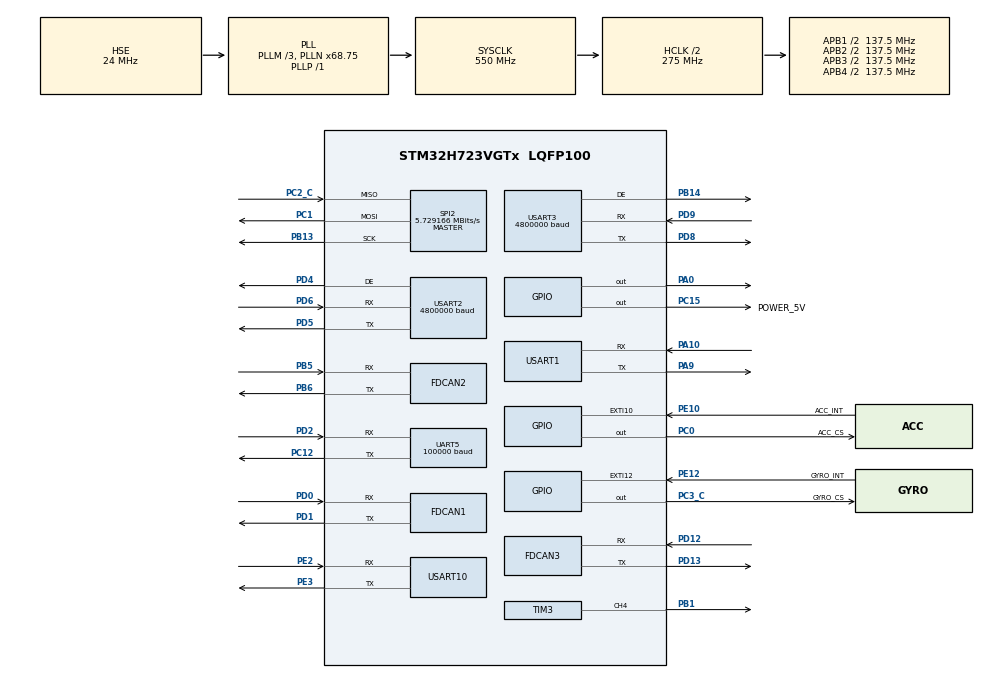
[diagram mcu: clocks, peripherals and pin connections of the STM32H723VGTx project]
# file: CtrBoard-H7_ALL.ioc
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CORTEX_M7.AccessPermission-Cortex_Memory_Protection_Unit_Region0_Settings=MPU_REGION_FULL_ACCESS
CORTEX_M7.BaseAddress-Cortex_Memory_Protection_Unit_Region0_Settings=0x24000000
CORTEX_M7.CPU_DCache=Disabled
CORTEX_M7.CPU_ICache=Disabled
CORTEX_M7.Enable-Cortex_Memory_Protection_Unit_Region0_Settings=MPU_REGION_ENABLE
CORTEX_M7.IsBufferable-Cortex_Memory_Protection_Unit_Region0_Settings=MPU_ACCESS_BUFFERABLE
CORTEX_M7.IsCacheable-Cortex_Memory_Protection_Unit_Region0_Settings=MPU_ACCESS_CACHEABLE
CORTEX_M7.MPU_Control=__NULL
CORTEX_M7.Size-Cortex_Memory_Protection_Unit_Region0_Settings=MPU_REGION_SIZE_512KB
CORTEX_M7.TypeExtField-Cortex_Memory_Protection_Unit_Region0_Settings=MPU_TEX_LEVEL0
Dma.Request0=SPI2_RX
Dma.Request1=SPI2_TX
Dma.Request10=USART10_TX
Dma.Request2=USART2_RX
Dma.Request3=USART2_TX
Dma.Request4=USART3_RX
Dma.Request5=USART3_TX
Dma.Request6=UART5_RX
Dma.Request7=USART1_TX
Dma.Request8=USART1_RX
Dma.Request9=USART10_RX
Dma.SPI2_RX.0.Direction=DMA_PERIPH_TO_MEMORY
Dma.SPI2_RX.0.EventEnable=DISABLE
Dma.SPI2_RX.0.FIFOMode=DMA_FIFOMODE_DISABLE
Dma.SPI2_RX.0.Instance=DMA1_Stream0
Dma.SPI2_RX.0.MemDataAlignment=DMA_MDATAALIGN_BYTE
Dma.SPI2_RX.0.MemInc=DMA_MINC_ENABLE
Dma.SPI2_RX.0.Mode=DMA_NORMAL
Dma.SPI2_RX.0.PeriphDataAlignment=DMA_PDATAALIGN_BYTE
Dma.SPI2_RX.0.PeriphInc=DMA_PINC_DISABLE
Dma.SPI2_RX.0.Polarity=HAL_DMAMUX_REQ_GEN_RISING
Dma.SPI2_RX.0.Priority=DMA_PRIORITY_VERY_HIGH
Dma.SPI2_RX.0.RequestNumber=1
Dma.SPI2_RX.0.SignalID=NONE
Dma.SPI2_RX.0.SyncEnable=DISABLE
Dma.SPI2_RX.0.SyncPolarity=HAL_DMAMUX_SYNC_NO_EVENT
Dma.SPI2_RX.0.SyncRequestNumber=1
Dma.SPI2_RX.0.SyncSignalID=NONE
Dma.SPI2_TX.1.Direction=DMA_MEMORY_TO_PERIPH
Dma.SPI2_TX.1.EventEnable=DISABLE
Dma.SPI2_TX.1.FIFOMode=DMA_FIFOMODE_DISABLE
Dma.SPI2_TX.1.Instance=DMA1_Stream1
Dma.SPI2_TX.1.MemDataAlignment=DMA_MDATAALIGN_BYTE
Dma.SPI2_TX.1.MemInc=DMA_MINC_ENABLE
Dma.SPI2_TX.1.Mode=DMA_NORMAL
Dma.SPI2_TX.1.PeriphDataAlignment=DMA_PDATAALIGN_BYTE
Dma.SPI2_TX.1.PeriphInc=DMA_PINC_DISABLE
Dma.SPI2_TX.1.Polarity=HAL_DMAMUX_REQ_GEN_RISING
Dma.SPI2_TX.1.Priority=DMA_PRIORITY_HIGH
Dma.SPI2_TX.1.RequestNumber=1
Dma.SPI2_TX.1.SignalID=NONE
Dma.SPI2_TX.1.SyncEnable=DISABLE
Dma.SPI2_TX.1.SyncPolarity=HAL_DMAMUX_SYNC_NO_EVENT
Dma.SPI2_TX.1.SyncRequestNumber=1
Dma.SPI2_TX.1.SyncSignalID=NONE
Dma.UART5_RX.6.Direction=DMA_PERIPH_TO_MEMORY
Dma.UART5_RX.6.EventEnable=DISABLE
Dma.UART5_RX.6.FIFOMode=DMA_FIFOMODE_DISABLE
Dma.UART5_RX.6.Instance=DMA1_Stream6
Dma.UART5_RX.6.MemDataAlignment=DMA_MDATAALIGN_BYTE
Dma.UART5_RX.6.MemInc=DMA_MINC_ENABLE
Dma.UART5_RX.6.Mode=DMA_NORMAL
Dma.UART5_RX.6.PeriphDataAlignment=DMA_PDATAALIGN_BYTE
Dma.UART5_RX.6.PeriphInc=DMA_PINC_DISABLE
Dma.UART5_RX.6.Polarity=HAL_DMAMUX_REQ_GEN_RISING
Dma.UART5_RX.6.Priority=DMA_PRIORITY_HIGH
Dma.UART5_RX.6.RequestNumber=1
Dma.UART5_RX.6.SignalID=NONE
Dma.UART5_RX.6.SyncEnable=DISABLE
Dma.UART5_RX.6.SyncPolarity=HAL_DMAMUX_SYNC_NO_EVENT
Dma.UART5_RX.6.SyncRequestNumber=1
Dma.UART5_RX.6.SyncSignalID=NONE
Dma.USART10_RX.9.Direction=DMA_PERIPH_TO_MEMORY
Dma.USART10_RX.9.EventEnable=DISABLE
Dma.USART10_RX.9.FIFOMode=DMA_FIFOMODE_DISABLE
Dma.USART10_RX.9.Instance=DMA2_Stream1
Dma.USART10_RX.9.MemDataAlignment=DMA_MDATAALIGN_BYTE
Dma.USART10_RX.9.MemInc=DMA_MINC_ENABLE
Dma.USART10_RX.9.Mode=DMA_NORMAL
Dma.USART10_RX.9.PeriphDataAlignment=DMA_PDATAALIGN_BYTE
Dma.USART10_RX.9.PeriphInc=DMA_PINC_DISABLE
Dma.USART10_RX.9.Polarity=HAL_DMAMUX_REQ_GEN_RISING
Dma.USART10_RX.9.Priority=DMA_PRIORITY_LOW
Dma.USART10_RX.9.RequestNumber=1
Dma.USART10_RX.9.SignalID=NONE
Dma.USART10_RX.9.SyncEnable=DISABLE
Dma.USART10_RX.9.SyncPolarity=HAL_DMAMUX_SYNC_NO_EVENT
Dma.USART10_RX.9.SyncRequestNumber=1
Dma.USART10_RX.9.SyncSignalID=NONE
Dma.USART10_TX.10.Direction=DMA_MEMORY_TO_PERIPH
Dma.USART10_TX.10.EventEnable=DISABLE
Dma.USART10_TX.10.FIFOMode=DMA_FIFOMODE_DISABLE
Dma.USART10_TX.10.Instance=DMA2_Stream2
Dma.USART10_TX.10.MemDataAlignment=DMA_MDATAALIGN_BYTE
Dma.USART10_TX.10.MemInc=DMA_MINC_ENABLE
Dma.USART10_TX.10.Mode=DMA_NORMAL
Dma.USART10_TX.10.PeriphDataAlignment=DMA_PDATAALIGN_BYTE
Dma.USART10_TX.10.PeriphInc=DMA_PINC_DISABLE
Dma.USART10_TX.10.Polarity=HAL_DMAMUX_REQ_GEN_RISING
Dma.USART10_TX.10.Priority=DMA_PRIORITY_LOW
Dma.USART10_TX.10.RequestNumber=1
Dma.USART10_TX.10.SignalID=NONE
Dma.USART10_TX.10.SyncEnable=DISABLE
Dma.USART10_TX.10.SyncPolarity=HAL_DMAMUX_SYNC_NO_EVENT
Dma.USART10_TX.10.SyncRequestNumber=1
Dma.USART10_TX.10.SyncSignalID=NONE
Dma.USART1_RX.8.Direction=DMA_PERIPH_TO_MEMORY
Dma.USART1_RX.8.EventEnable=DISABLE
Dma.USART1_RX.8.FIFOMode=DMA_FIFOMODE_DISABLE
Dma.USART1_RX.8.Instance=DMA2_Stream0
Dma.USART1_RX.8.MemDataAlignment=DMA_MDATAALIGN_BYTE
Dma.USART1_RX.8.MemInc=DMA_MINC_ENABLE
Dma.USART1_RX.8.Mode=DMA_NORMAL
Dma.USART1_RX.8.PeriphDataAlignment=DMA_PDATAALIGN_BYTE
Dma.USART1_RX.8.PeriphInc=DMA_PINC_DISABLE
Dma.USART1_RX.8.Polarity=HAL_DMAMUX_REQ_GEN_RISING
Dma.USART1_RX.8.Priority=DMA_PRIORITY_LOW
Dma.USART1_RX.8.RequestNumber=1
Dma.USART1_RX.8.SignalID=NONE
Dma.USART1_RX.8.SyncEnable=DISABLE
Dma.USART1_RX.8.SyncPolarity=HAL_DMAMUX_SYNC_NO_EVENT
Dma.USART1_RX.8.SyncRequestNumber=1
Dma.USART1_RX.8.SyncSignalID=NONE
Dma.USART1_TX.7.Direction=DMA_MEMORY_TO_PERIPH
Dma.USART1_TX.7.EventEnable=DISABLE
Dma.USART1_TX.7.FIFOMode=DMA_FIFOMODE_DISABLE
Dma.USART1_TX.7.Instance=DMA1_Stream7
Dma.USART1_TX.7.MemDataAlignment=DMA_MDATAALIGN_BYTE
Dma.USART1_TX.7.MemInc=DMA_MINC_ENABLE
Dma.USART1_TX.7.Mode=DMA_NORMAL
Dma.USART1_TX.7.PeriphDataAlignment=DMA_PDATAALIGN_BYTE
Dma.USART1_TX.7.PeriphInc=DMA_PINC_DISABLE
Dma.USART1_TX.7.Polarity=HAL_DMAMUX_REQ_GEN_RISING
Dma.USART1_TX.7.Priority=DMA_PRIORITY_LOW
Dma.USART1_TX.7.RequestNumber=1
Dma.USART1_TX.7.SignalID=NONE
Dma.USART1_TX.7.SyncEnable=DISABLE
Dma.USART1_TX.7.SyncPolarity=HAL_DMAMUX_SYNC_NO_EVENT
Dma.USART1_TX.7.SyncRequestNumber=1
Dma.USART1_TX.7.SyncSignalID=NONE
Dma.USART2_RX.2.Direction=DMA_PERIPH_TO_MEMORY
Dma.USART2_RX.2.EventEnable=DISABLE
Dma.USART2_RX.2.FIFOMode=DMA_FIFOMODE_DISABLE
Dma.USART2_RX.2.Instance=DMA1_Stream2
Dma.USART2_RX.2.MemDataAlignment=DMA_MDATAALIGN_BYTE
Dma.USART2_RX.2.MemInc=DMA_MINC_ENABLE
Dma.USART2_RX.2.Mode=DMA_NORMAL
Dma.USART2_RX.2.PeriphDataAlignment=DMA_PDATAALIGN_BYTE
Dma.USART2_RX.2.PeriphInc=DMA_PINC_DISABLE
Dma.USART2_RX.2.Polarity=HAL_DMAMUX_REQ_GEN_RISING
Dma.USART2_RX.2.Priority=DMA_PRIORITY_LOW
Dma.USART2_RX.2.RequestNumber=1
Dma.USART2_RX.2.SignalID=NONE
Dma.USART2_RX.2.SyncEnable=DISABLE
Dma.USART2_RX.2.SyncPolarity=HAL_DMAMUX_SYNC_NO_EVENT
Dma.USART2_RX.2.SyncRequestNumber=1
Dma.USART2_RX.2.SyncSignalID=NONE
Dma.USART2_TX.3.Direction=DMA_MEMORY_TO_PERIPH
Dma.USART2_TX.3.EventEnable=DISABLE
Dma.USART2_TX.3.FIFOMode=DMA_FIFOMODE_DISABLE
Dma.USART2_TX.3.Instance=DMA1_Stream3
Dma.USART2_TX.3.MemDataAlignment=DMA_MDATAALIGN_BYTE
Dma.USART2_TX.3.MemInc=DMA_MINC_ENABLE
Dma.USART2_TX.3.Mode=DMA_NORMAL
Dma.USART2_TX.3.PeriphDataAlignment=DMA_PDATAALIGN_BYTE
Dma.USART2_TX.3.PeriphInc=DMA_PINC_DISABLE
Dma.USART2_TX.3.Polarity=HAL_DMAMUX_REQ_GEN_RISING
Dma.USART2_TX.3.Priority=DMA_PRIORITY_LOW
Dma.USART2_TX.3.RequestNumber=1
Dma.USART2_TX.3.SignalID=NONE
Dma.USART2_TX.3.SyncEnable=DISABLE
Dma.USART2_TX.3.SyncPolarity=HAL_DMAMUX_SYNC_NO_EVENT
Dma.USART2_TX.3.SyncRequestNumber=1
Dma.USART2_TX.3.SyncSignalID=NONE
Dma.USART3_RX.4.Direction=DMA_PERIPH_TO_MEMORY
Dma.USART3_RX.4.EventEnable=DISABLE
Dma.USART3_RX.4.FIFOMode=DMA_FIFOMODE_DISABLE
Dma.USART3_RX.4.Instance=DMA1_Stream4
Dma.USART3_RX.4.MemDataAlignment=DMA_MDATAALIGN_BYTE
Dma.USART3_RX.4.MemInc=DMA_MINC_ENABLE
Dma.USART3_RX.4.Mode=DMA_NORMAL
Dma.USART3_RX.4.PeriphDataAlignment=DMA_PDATAALIGN_BYTE
Dma.USART3_RX.4.PeriphInc=DMA_PINC_DISABLE
Dma.USART3_RX.4.Polarity=HAL_DMAMUX_REQ_GEN_RISING
Dma.USART3_RX.4.Priority=DMA_PRIORITY_LOW
Dma.USART3_RX.4.RequestNumber=1
Dma.USART3_RX.4.SignalID=NONE
Dma.USART3_RX.4.SyncEnable=DISABLE
Dma.USART3_RX.4.SyncPolarity=HAL_DMAMUX_SYNC_NO_EVENT
Dma.USART3_RX.4.SyncRequestNumber=1
Dma.USART3_RX.4.SyncSignalID=NONE
Dma.USART3_TX.5.Direction=DMA_MEMORY_TO_PERIPH
Dma.USART3_TX.5.EventEnable=DISABLE
Dma.USART3_TX.5.FIFOMode=DMA_FIFOMODE_DISABLE
Dma.USART3_TX.5.Instance=DMA1_Stream5
Dma.USART3_TX.5.MemDataAlignment=DMA_MDATAALIGN_BYTE
Dma.USART3_TX.5.MemInc=DMA_MINC_ENABLE
Dma.USART3_TX.5.Mode=DMA_NORMAL
Dma.USART3_TX.5.PeriphDataAlignment=DMA_PDATAALIGN_BYTE
Dma.USART3_TX.5.PeriphInc=DMA_PINC_DISABLE
Dma.USART3_TX.5.Polarity=HAL_DMAMUX_REQ_GEN_RISING
Dma.USART3_TX.5.Priority=DMA_PRIORITY_LOW
Dma.USART3_TX.5.RequestNumber=1
Dma.USART3_TX.5.SignalID=NONE
Dma.USART3_TX.5.SyncEnable=DISABLE
Dma.USART3_TX.5.SyncPolarity=HAL_DMAMUX_SYNC_NO_EVENT
Dma.USART3_TX.5.SyncRequestNumber=1
Dma.USART3_TX.5.SyncSignalID=NONE
FDCAN1.CalculateBaudRateNominal=1000000
FDCAN1.CalculateTimeBitNominal=1000
FDCAN1.CalculateTimeQuantumNominal=83.33333333333333
FDCAN1.NominalPrescaler=8
FDCAN1.NominalTimeSeg1=4
FDCAN1.NominalTimeSeg2=7
FDCAN1.RxFifo0ElmtsNbr=32
FDCAN1.TxFifoQueueElmtsNbr=16
FDCAN2.CalculateBaudRateNominal=1000000
FDCAN2.CalculateTimeBitNominal=1000
FDCAN2.CalculateTimeQuantumNominal=83.33333333333333
FDCAN2.NominalPrescaler=8
FDCAN2.NominalTimeSeg1=4
FDCAN2.NominalTimeSeg2=7
FDCAN2.RxFifo0ElmtsNbr=32
FDCAN2.TxFifoQueueElmtsNbr=16
FDCAN3.CalculateBaudRateNominal=1000000
FDCAN3.CalculateTimeBitNominal=1000
FDCAN3.CalculateTimeQuantumNominal=83.33333333333333
FDCAN3.NominalPrescaler=8
FDCAN3.NominalTimeSeg1=4
FDCAN3.NominalTimeSeg2=7
FDCAN3.RxFifo0ElmtsNbr=32
FDCAN3.TxFifoQueueElmtsNbr=16
FREERTOS.INCLUDE_vTaskDelayUntil=1
FREERTOS.MEMORY_ALLOCATION=2
FREERTOS.Tasks01=defaultTask,24,128,StartDefaultTask,Default,NULL,Static,defaultTaskBuffer,defaultTaskControlBlock;ImuTask,40,1024,ImuTask_Entry,As weak,NULL,Static,ImuTaskBuffer,ImuTaskControlBlock;EstimatorTask,40,1024,EstimatorTask_Entry,As weak,NULL,Static,EstimatorTaskBuffer,EstimatorTaskControlBlock;ChassisTask,40,2048,ChassisTask_Entry,As weak,NULL,Static,ChassisTaskBuffer,ChassisTaskControlBlock;RefereeTask,40,1024,RefereeTask_Entry,As weak,NULL,Static,RefereeTaskBuffer,RefereeTaskControlBlock;CansendTask,48,1024,CansendTask_Entry,As weak,NULL,Static,CansendTaskBuffer,CansendTaskControlBlock
FREERTOS.configTOTAL_HEAP_SIZE=30720
Mcu.Family=STM32H7
Mcu.Name=STM32H723VGTx
Mcu.Package=LQFP100
NVIC.DMA1_Stream0_IRQn=true\:6\:0\:true\:false\:true\:true\:false\:true\:true
NVIC.DMA1_Stream1_IRQn=true\:6\:0\:true\:false\:true\:true\:false\:true\:true
NVIC.DMA1_Stream2_IRQn=true\:5\:0\:false\:false\:true\:true\:false\:true\:true
NVIC.DMA1_Stream3_IRQn=true\:5\:0\:false\:false\:true\:true\:false\:true\:true
NVIC.DMA1_Stream4_IRQn=true\:5\:0\:false\:false\:true\:true\:false\:true\:true
NVIC.DMA1_Stream5_IRQn=true\:5\:0\:false\:false\:true\:true\:false\:true\:true
NVIC.DMA1_Stream6_IRQn=true\:5\:0\:false\:false\:true\:true\:false\:true\:true
NVIC.DMA1_Stream7_IRQn=true\:5\:0\:false\:false\:true\:true\:false\:true\:true
NVIC.DMA2_Stream0_IRQn=true\:5\:0\:false\:false\:true\:true\:false\:true\:true
NVIC.DMA2_Stream1_IRQn=true\:5\:0\:false\:false\:true\:true\:false\:true\:true
NVIC.DMA2_Stream2_IRQn=true\:5\:0\:false\:false\:true\:true\:false\:true\:true
NVIC.EXTI15_10_IRQn=true\:6\:0\:true\:false\:true\:true\:true\:true\:true
NVIC.FDCAN1_IT0_IRQn=true\:5\:0\:false\:false\:true\:true\:true\:true\:true
NVIC.FDCAN1_IT1_IRQn=true\:5\:0\:false\:false\:true\:true\:true\:true\:true
NVIC.FDCAN2_IT0_IRQn=true\:5\:0\:false\:false\:true\:true\:true\:true\:true
NVIC.FDCAN2_IT1_IRQn=true\:5\:0\:false\:false\:true\:true\:true\:true\:true
NVIC.PriorityGroup=NVIC_PRIORITYGROUP_4
NVIC.SPI2_IRQn=true\:6\:0\:true\:false\:true\:true\:false\:true\:true
NVIC.TIM1_UP_IRQn=true\:15\:0\:false\:false\:true\:false\:false\:true\:true
NVIC.TIM6_DAC_IRQn=true\:5\:0\:false\:false\:true\:true\:true\:true\:true
NVIC.TimeBase=TIM1_UP_IRQn
NVIC.TimeBaseIP=TIM1
NVIC.UART5_IRQn=true\:5\:0\:false\:false\:true\:true\:true\:true\:true
NVIC.USART10_IRQn=true\:5\:0\:false\:false\:true\:true\:true\:true\:true
NVIC.USART1_IRQn=true\:5\:0\:false\:false\:true\:true\:true\:true\:true
NVIC.USART2_IRQn=true\:5\:0\:false\:false\:true\:true\:true\:true\:true
NVIC.USART3_IRQn=true\:5\:0\:false\:false\:true\:true\:true\:true\:true
PA0.GPIO_Speed=GPIO_SPEED_FREQ_VERY_HIGH
PA0.Signal=GPIO_Output
PA10.Mode=Asynchronous
PA10.Signal=USART1_RX
PA13(JTMS/SWDIO).Mode=Serial_Wire
PA13(JTMS/SWDIO).Signal=DEBUG_JTMS-SWDIO
PA14(JTCK/SWCLK).Mode=Serial_Wire
PA14(JTCK/SWCLK).Signal=DEBUG_JTCK-SWCLK
PA9.Mode=Asynchronous
PA9.Signal=USART1_TX
PB1.Signal=S_TIM3_CH4
PB13.GPIO_Speed=GPIO_SPEED_FREQ_VERY_HIGH
PB13.Mode=Full_Duplex_Master
PB13.Signal=SPI2_SCK
PB14.GPIO_Speed=GPIO_SPEED_FREQ_VERY_HIGH
PB14.Mode=Hardware Flow Control (RS485)
PB14.Signal=USART3_DE
PB5.Mode=FDCAN_Activate
PB5.Signal=FDCAN2_RX
PB6.Mode=FDCAN_Activate
PB6.Signal=FDCAN2_TX
PC0.GPIO_Label=ACC_CS
PC0.GPIO_Speed=GPIO_SPEED_FREQ_VERY_HIGH
PC0.PinState=GPIO_PIN_SET
PC0.Signal=GPIO_Output
PC1.GPIO_Speed=GPIO_SPEED_FREQ_VERY_HIGH
PC1.Mode=Full_Duplex_Master
PC1.Signal=SPI2_MOSI
PC12.GPIO_Speed=GPIO_SPEED_FREQ_VERY_HIGH
PC12.Mode=Asynchronous
PC12.Signal=UART5_TX
PC15-OSC32_OUT.GPIO_Label=POWER_5V
PC15-OSC32_OUT.PinState=GPIO_PIN_SET
PC15-OSC32_OUT.Signal=GPIO_Output
PC2_C.GPIO_Speed=GPIO_SPEED_FREQ_VERY_HIGH
PC2_C.Mode=Full_Duplex_Master
PC2_C.Signal=SPI2_MISO
PC3_C.GPIO_Label=GYRO_CS
PC3_C.GPIO_Speed=GPIO_SPEED_FREQ_VERY_HIGH
PC3_C.PinState=GPIO_PIN_SET
PC3_C.Signal=GPIO_Output
PD0.Mode=FDCAN_Activate
PD0.Signal=FDCAN1_RX
PD1.Mode=FDCAN_Activate
PD1.Signal=FDCAN1_TX
PD12.Mode=FDCAN_Activate
PD12.Signal=FDCAN3_RX
PD13.Mode=FDCAN_Activate
PD13.Signal=FDCAN3_TX
PD2.GPIO_Speed=GPIO_SPEED_FREQ_VERY_HIGH
PD2.Mode=Asynchronous
PD2.Signal=UART5_RX
PD4.GPIO_Speed=GPIO_SPEED_FREQ_VERY_HIGH
PD4.Mode=Hardware Flow Control (RS485)
PD4.Signal=USART2_DE
PD5.GPIO_Speed=GPIO_SPEED_FREQ_VERY_HIGH
PD5.Mode=Asynchronous
PD5.Signal=USART2_TX
PD6.GPIO_Speed=GPIO_SPEED_FREQ_VERY_HIGH
PD6.Mode=Asynchronous
PD6.Signal=USART2_RX
PD8.GPIO_Speed=GPIO_SPEED_FREQ_VERY_HIGH
PD8.Mode=Asynchronous
PD8.Signal=USART3_TX
PD9.GPIO_Speed=GPIO_SPEED_FREQ_VERY_HIGH
PD9.Mode=Asynchronous
PD9.Signal=USART3_RX
PE10.GPIO_Label=ACC_INT
PE10.Signal=GPXTI10
PE12.GPIO_Label=GYRO_INT
PE12.Signal=GPXTI12
PE2.Mode=Asynchronous
PE2.Signal=USART10_RX
PE3.Mode=Asynchronous
PE3.Signal=USART10_TX
PH0-OSC_IN.Mode=HSE-External-Oscillator
PH0-OSC_IN.Signal=RCC_OSC_IN
PH1-OSC_OUT.Mode=HSE-External-Oscillator
PH1-OSC_OUT.Signal=RCC_OSC_OUT
ProjectManager.HeapSize=0x2000
ProjectManager.StackSize=0x8000
ProjectManager.TargetToolchain=MDK-ARM V5.27
RCC.ADCFreq_Value=96000000
RCC.APB1Freq_Value=137500000
RCC.APB2Freq_Value=137500000
RCC.APB3Freq_Value=137500000
RCC.APB4Freq_Value=137500000
RCC.CortexFreq_Value=550000000
RCC.D1PPRE=RCC_APB3_DIV2
RCC.D2PPRE1=RCC_APB1_DIV2
RCC.D2PPRE2=RCC_APB2_DIV2
RCC.D3PPRE=RCC_APB4_DIV2
RCC.DIVM1=3
RCC.DIVM2=2
RCC.DIVN1=68
RCC.DIVN2=16
RCC.DIVP1=1
RCC.DIVQ1=3
RCC.FDCANCLockSelection=RCC_FDCANCLKSOURCE_PLL2
RCC.HCLKFreq_Value=275000000
RCC.HPRE=RCC_HCLK_DIV2
RCC.HSE_VALUE=24000000
RCC.PLL2FRACN=0
RCC.PLL3FRACN=0
RCC.PLLFRACN=6144
RCC.PLLSourceVirtual=RCC_PLLSOURCE_HSE
RCC.SYSCLKFreq_VALUE=550000000
RCC.SYSCLKSource=RCC_SYSCLKSOURCE_PLLCLK
RCC.USBFreq_Value=183333333.33333334
SH.S_TIM3_CH4.0=TIM3_CH4,PWM Generation4 CH4
SPI2.BaudRatePrescaler=SPI_BAUDRATEPRESCALER_32
SPI2.CLKPhase=SPI_PHASE_2EDGE
SPI2.CLKPolarity=SPI_POLARITY_HIGH
SPI2.CalculateBaudRate=5.729166 MBits/s
SPI2.DataSize=SPI_DATASIZE_8BIT
SPI2.Direction=SPI_DIRECTION_2LINES
SPI2.Mode=SPI_MODE_MASTER
SPI2.VirtualType=VM_MASTER
TIM3.AutoReloadPreload=TIM_AUTORELOAD_PRELOAD_ENABLE
TIM3.Channel-PWM\ Generation4\ CH4=TIM_CHANNEL_4
TIM3.Period=10000-1
TIM3.Prescaler=24-1
TIM6.Period=999
TIM6.Prescaler=119
UART5.BaudRate=100000
UART5.DMADisableonRxErrorParam=UART_ADVFEATURE_DMA_DISABLEONRXERROR
UART5.OverrunDisableParam=UART_ADVFEATURE_OVERRUN_DISABLE
UART5.Parity=PARITY_EVEN
UART5.WordLength=WORDLENGTH_9B
USART1.DMADisableonRxErrorParam=ADVFEATURE_DMA_DISABLEONRXERROR
USART1.OverrunDisableParam=ADVFEATURE_OVERRUN_DISABLE
USART1.VirtualMode-Asynchronous=VM_ASYNC
USART10.DMADisableonRxErrorParam=ADVFEATURE_DMA_DISABLEONRXERROR
USART10.OverSampling=UART_OVERSAMPLING_8
USART10.OverrunDisableParam=ADVFEATURE_OVERRUN_DISABLE
USART10.VirtualMode=VM_ASYNC
USART2.BaudRate=4800000
USART2.DMADisableonRxErrorParam=ADVFEATURE_DMA_DISABLEONRXERROR
USART2.OverSampling=UART_OVERSAMPLING_8
USART2.OverrunDisableParam=ADVFEATURE_OVERRUN_DISABLE
USART2.VirtualMode-Asynchronous=VM_ASYNC
USART2.VirtualMode-Hardware\ Flow\ Control\ (RS485)=VM_ASYNC
USART3.BaudRate=4800000
USART3.DMADisableonRxErrorParam=ADVFEATURE_DMA_DISABLEONRXERROR
USART3.OverSampling=UART_OVERSAMPLING_8
USART3.OverrunDisableParam=ADVFEATURE_OVERRUN_DISABLE
USART3.VirtualMode-Asynchronous=VM_ASYNC
USART3.VirtualMode-Hardware\ Flow\ Control\ (RS485)=VM_ASYNC
VP_FREERTOS_VS_CMSIS_V2.Mode=CMSIS_V2
VP_MEMORYMAP_VS_MEMORYMAP.Mode=CurAppReg
VP_SYS_VS_tim1.Mode=TIM1
VP_TIM6_VS_ClockSourceINT.Mode=Enable_Timer
board=custom

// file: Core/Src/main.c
/* USER CODE BEGIN Header */
/**
 ******************************************************************************
 * @file           : main.c
 * @brief          : Main program body
 ******************************************************************************
 * @attention
 *
 * Copyright (c) 2024 STMicroelectronics.
 * All rights reserved.
 *
 * This software is licensed under terms that can be found in the LICENSE file
 * in the root directory of this software component.
 * If no LICENSE file comes with this software, it is provided AS-IS.
 *
 ******************************************************************************
 */
/* USER CODE END Header */
#include "main.h"
#include "cmsis_os.h"
#include "dma.h"
#include "fdcan.h"
#include "memorymap.h"
#include "spi.h"
#include "tim.h"
#include "usart.h"
#include "gpio.h"

/* USER CODE BEGIN Includes */
#include "can_bsp.h"
#include "vofa.h"
#include "w25q64.h"
#include <stdio.h>
#include "feet_motor.h"
#include "joint_motor.h"
#include "MotionAnalysis.h"
#include "referee_task.h"
/* USER CODE END Includes */

/* USER CODE BEGIN PV */

int joint_flag = 1;

/* USER CODE END PV */

void SystemClock_Config(void);
void PeriphCommonClock_Config(void);
void MX_FREERTOS_Init(void);

int main(void)
{

  /* MCU Configuration--------------------------------------------------------*/

  /* Reset of all peripherals, Initializes the Flash interface and the Systick. */
  HAL_Init();

  /* Configure the system clock */
  SystemClock_Config();

  /* Configure the peripherals common clocks */
  PeriphCommonClock_Config();

  /* Initialize all configured peripherals */
  MX_GPIO_Init();
  MX_DMA_Init();
  MX_SPI2_Init();
  MX_TIM3_Init();
  MX_USART2_UART_Init();
  MX_USART3_UART_Init();
  MX_FDCAN1_Init();
  MX_UART5_Init();
  MX_USART1_UART_Init();
  MX_FDCAN2_Init();
  MX_FDCAN3_Init();
  MX_TIM6_Init();
  MX_USART10_UART_Init();
  /* USER CODE BEGIN 2 */
  __HAL_UART_ENABLE_IT(&huart10, UART_IT_IDLE);                            // 开启空闲中断
  HAL_UART_Receive_DMA(&huart10, usart10_buf1, USART_RX_BUF_LENGHT);       // 开启串口DMA接收
  __HAL_UART_ENABLE_IT(&huart2, UART_IT_IDLE);                             // 开启空闲中断
  HAL_UART_Receive_DMA(&huart2, Usart2Type.RX_pData, A1_RECEIVE_SIZE + 2); // 开启串口DMA接收
  __HAL_UART_ENABLE_IT(&huart3, UART_IT_IDLE);                             // 开启空闲中断
  HAL_UART_Receive_DMA(&huart3, Usart3Type.RX_pData, A1_RECEIVE_SIZE + 2); // 开启串口DMA接收
  HAL_Delay(100);
  can_bsp_init();
  HAL_TIM_Base_Start_IT(&htim6);

  Joint_init(&(Chassis.joint_left));
  Joint_init(&(Chassis.joint_right));
  /* USER CODE END 2 */

  /* Init scheduler */
  osKernelInitialize();

  /* Call init function for freertos objects (in cmsis_os2.c) */
  MX_FREERTOS_Init();

  /* Start scheduler */
  osKernelStart();

  /* We should never get here as control is now taken by the scheduler */

  /* Infinite loop */
  /* USER CODE BEGIN WHILE */
  while (1)
  {
    //	  vofa_start();

    /* USER CODE END WHILE */

  }
}

void SystemClock_Config(void)
{
  RCC_OscInitTypeDef RCC_OscInitStruct = {0};
  RCC_ClkInitTypeDef RCC_ClkInitStruct = {0};

  /** Supply configuration update enable
  */
  HAL_PWREx_ConfigSupply(PWR_LDO_SUPPLY);

  /** Configure the main internal regulator output voltage
  */
  __HAL_PWR_VOLTAGESCALING_CONFIG(PWR_REGULATOR_VOLTAGE_SCALE0);

  while(!__HAL_PWR_GET_FLAG(PWR_FLAG_VOSRDY)) {}

  /** Initializes the RCC Oscillators according to the specified parameters
  * in the RCC_OscInitTypeDef structure.
  */
  RCC_OscInitStruct.OscillatorType = RCC_OSCILLATORTYPE_HSE;
  RCC_OscInitStruct.HSEState = RCC_HSE_ON;
  RCC_OscInitStruct.PLL.PLLState = RCC_PLL_ON;
  RCC_OscInitStruct.PLL.PLLSource = RCC_PLLSOURCE_HSE;
  RCC_OscInitStruct.PLL.PLLM = 3;
  RCC_OscInitStruct.PLL.PLLN = 68;
  RCC_OscInitStruct.PLL.PLLP = 1;
  RCC_OscInitStruct.PLL.PLLQ = 3;
  RCC_OscInitStruct.PLL.PLLR = 2;
  RCC_OscInitStruct.PLL.PLLRGE = RCC_PLL1VCIRANGE_3;
  RCC_OscInitStruct.PLL.PLLVCOSEL = RCC_PLL1VCOWIDE;
  RCC_OscInitStruct.PLL.PLLFRACN = 6144;
  if (HAL_RCC_OscConfig(&RCC_OscInitStruct) != HAL_OK)
  {
    Error_Handler();
  }

  /** Initializes the CPU, AHB and APB buses clocks
  */
  RCC_ClkInitStruct.ClockType = RCC_CLOCKTYPE_HCLK|RCC_CLOCKTYPE_SYSCLK
                              |RCC_CLOCKTYPE_PCLK1|RCC_CLOCKTYPE_PCLK2
                              |RCC_CLOCKTYPE_D3PCLK1|RCC_CLOCKTYPE_D1PCLK1;
  RCC_ClkInitStruct.SYSCLKSource = RCC_SYSCLKSOURCE_PLLCLK;
  RCC_ClkInitStruct.SYSCLKDivider = RCC_SYSCLK_DIV1;
  RCC_ClkInitStruct.AHBCLKDivider = RCC_HCLK_DIV2;
  RCC_ClkInitStruct.APB3CLKDivider = RCC_APB3_DIV2;
  RCC_ClkInitStruct.APB1CLKDivider = RCC_APB1_DIV2;
  RCC_ClkInitStruct.APB2CLKDivider = RCC_APB2_DIV2;
  RCC_ClkInitStruct.APB4CLKDivider = RCC_APB4_DIV2;

  if (HAL_RCC_ClockConfig(&RCC_ClkInitStruct, FLASH_LATENCY_3) != HAL_OK)
  {
    Error_Handler();
  }
}

void PeriphCommonClock_Config(void)
{
  RCC_PeriphCLKInitTypeDef PeriphClkInitStruct = {0};

  /** Initializes the peripherals clock
  */
  PeriphClkInitStruct.PeriphClockSelection = RCC_PERIPHCLK_FDCAN;
  PeriphClkInitStruct.PLL2.PLL2M = 2;
  PeriphClkInitStruct.PLL2.PLL2N = 16;
  PeriphClkInitStruct.PLL2.PLL2P = 2;
  PeriphClkInitStruct.PLL2.PLL2Q = 2;
  PeriphClkInitStruct.PLL2.PLL2R = 2;
  PeriphClkInitStruct.PLL2.PLL2RGE = RCC_PLL2VCIRANGE_3;
  PeriphClkInitStruct.PLL2.PLL2VCOSEL = RCC_PLL2VCOWIDE;
  PeriphClkInitStruct.PLL2.PLL2FRACN = 0;
  PeriphClkInitStruct.FdcanClockSelection = RCC_FDCANCLKSOURCE_PLL2;
  if (HAL_RCCEx_PeriphCLKConfig(&PeriphClkInitStruct) != HAL_OK)
  {
    Error_Handler();
  }
}

void HAL_TIM_PeriodElapsedCallback(TIM_HandleTypeDef *htim)
{
  if (htim->Instance == TIM1) {
    HAL_IncTick();
  }
  /* USER CODE BEGIN Callback 1 */
  if (htim->Instance == TIM6)
  {
    if (joint_flag == -1)
    {
      Stand_left1_t(Chassis.joint_left.Torque_forward);
      Stand_right1_t(Chassis.joint_right.Torque_forward);
    }
    if (joint_flag == 1)
    {
      Stand_left2_t(Chassis.joint_left.Torque_behind);
      Stand_right2_t(Chassis.joint_right.Torque_behind);
    }
    joint_flag *= -1;
  }
  /* USER CODE END Callback 1 */
}

void Error_Handler(void)
{
  __disable_irq();
  while (1)
  {
  }
}

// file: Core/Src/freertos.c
/* USER CODE BEGIN Header */
/**
  ******************************************************************************
  * File Name          : freertos.c
  * Description        : Code for freertos applications
  ******************************************************************************
  * @attention
  *
  * Copyright (c) 2024 STMicroelectronics.
  * All rights reserved.
  *
  * This software is licensed under terms that can be found in the LICENSE file
  * in the root directory of this software component.
  * If no LICENSE file comes with this software, it is provided AS-IS.
  *
  ******************************************************************************
  */
/* USER CODE END Header */

#include "FreeRTOS.h"
#include "task.h"
#include "main.h"
#include "cmsis_os.h"

typedef StaticTask_t osStaticThreadDef_t;

/* Definitions for defaultTask */
osThreadId_t defaultTaskHandle;
uint32_t defaultTaskBuffer[ 128 ];
osStaticThreadDef_t defaultTaskControlBlock;
const osThreadAttr_t defaultTask_attributes = {
  .name = "defaultTask",
  .cb_mem = &defaultTaskControlBlock,
  .cb_size = sizeof(defaultTaskControlBlock),
  .stack_mem = &defaultTaskBuffer[0],
  .stack_size = sizeof(defaultTaskBuffer),
  .priority = (osPriority_t) osPriorityNormal,
};
/* Definitions for ImuTask */
osThreadId_t ImuTaskHandle;
uint32_t ImuTaskBuffer[ 1024 ];
osStaticThreadDef_t ImuTaskControlBlock;
const osThreadAttr_t ImuTask_attributes = {
  .name = "ImuTask",
  .cb_mem = &ImuTaskControlBlock,
  .cb_size = sizeof(ImuTaskControlBlock),
  .stack_mem = &ImuTaskBuffer[0],
  .stack_size = sizeof(ImuTaskBuffer),
  .priority = (osPriority_t) osPriorityHigh,
};
/* Definitions for EstimatorTask */
osThreadId_t EstimatorTaskHandle;
uint32_t EstimatorTaskBuffer[ 1024 ];
osStaticThreadDef_t EstimatorTaskControlBlock;
const osThreadAttr_t EstimatorTask_attributes = {
  .name = "EstimatorTask",
  .cb_mem = &EstimatorTaskControlBlock,
  .cb_size = sizeof(EstimatorTaskControlBlock),
  .stack_mem = &EstimatorTaskBuffer[0],
  .stack_size = sizeof(EstimatorTaskBuffer),
  .priority = (osPriority_t) osPriorityHigh,
};
/* Definitions for ChassisTask */
osThreadId_t ChassisTaskHandle;
uint32_t ChassisTaskBuffer[ 2048 ];
osStaticThreadDef_t ChassisTaskControlBlock;
const osThreadAttr_t ChassisTask_attributes = {
  .name = "ChassisTask",
  .cb_mem = &ChassisTaskControlBlock,
  .cb_size = sizeof(ChassisTaskControlBlock),
  .stack_mem = &ChassisTaskBuffer[0],
  .stack_size = sizeof(ChassisTaskBuffer),
  .priority = (osPriority_t) osPriorityHigh,
};
/* Definitions for RefereeTask */
osThreadId_t RefereeTaskHandle;
uint32_t RefereeTaskBuffer[ 1024 ];
osStaticThreadDef_t RefereeTaskControlBlock;
const osThreadAttr_t RefereeTask_attributes = {
  .name = "RefereeTask",
  .cb_mem = &RefereeTaskControlBlock,
  .cb_size = sizeof(RefereeTaskControlBlock),
  .stack_mem = &RefereeTaskBuffer[0],
  .stack_size = sizeof(RefereeTaskBuffer),
  .priority = (osPriority_t) osPriorityHigh,
};
/* Definitions for CansendTask */
osThreadId_t CansendTaskHandle;
uint32_t CansendTaskBuffer[ 1024 ];
osStaticThreadDef_t CansendTaskControlBlock;
const osThreadAttr_t CansendTask_attributes = {
  .name = "CansendTask",
  .cb_mem = &CansendTaskControlBlock,
  .cb_size = sizeof(CansendTaskControlBlock),
  .stack_mem = &CansendTaskBuffer[0],
  .stack_size = sizeof(CansendTaskBuffer),
  .priority = (osPriority_t) osPriorityRealtime,
};

void StartDefaultTask(void *argument);
void ImuTask_Entry(void *argument);
void EstimatorTask_Entry(void *argument);
void ChassisTask_Entry(void *argument);
void RefereeTask_Entry(void *argument);
void CansendTask_Entry(void *argument);

void MX_FREERTOS_Init(void); /* (MISRA C 2004 rule 8.1) */

void MX_FREERTOS_Init(void) {

  /* Create the thread(s) */
  /* creation of defaultTask */
  defaultTaskHandle = osThreadNew(StartDefaultTask, NULL, &defaultTask_attributes);

  /* creation of ImuTask */
  ImuTaskHandle = osThreadNew(ImuTask_Entry, NULL, &ImuTask_attributes);

  /* creation of EstimatorTask */
  EstimatorTaskHandle = osThreadNew(EstimatorTask_Entry, NULL, &EstimatorTask_attributes);

  /* creation of ChassisTask */
  ChassisTaskHandle = osThreadNew(ChassisTask_Entry, NULL, &ChassisTask_attributes);

  /* creation of RefereeTask */
  RefereeTaskHandle = osThreadNew(RefereeTask_Entry, NULL, &RefereeTask_attributes);

  /* creation of CansendTask */
  CansendTaskHandle = osThreadNew(CansendTask_Entry, NULL, &CansendTask_attributes);

}

void StartDefaultTask(void *argument)
{
  for(;;)
  {
    osDelay(1);
  }
}

__weak void ImuTask_Entry(void *argument)
{
  for(;;)
  {
    osDelay(1);
  }
}

__weak void EstimatorTask_Entry(void *argument)
{
  for(;;)
  {
    osDelay(1);
  }
}

__weak void ChassisTask_Entry(void *argument)
{
  for(;;)
  {
    osDelay(1);
  }
}

__weak void RefereeTask_Entry(void *argument)
{
  for(;;)
  {
    osDelay(1);
  }
}

__weak void CansendTask_Entry(void *argument)
{
  for(;;)
  {
    osDelay(1);
  }
}
